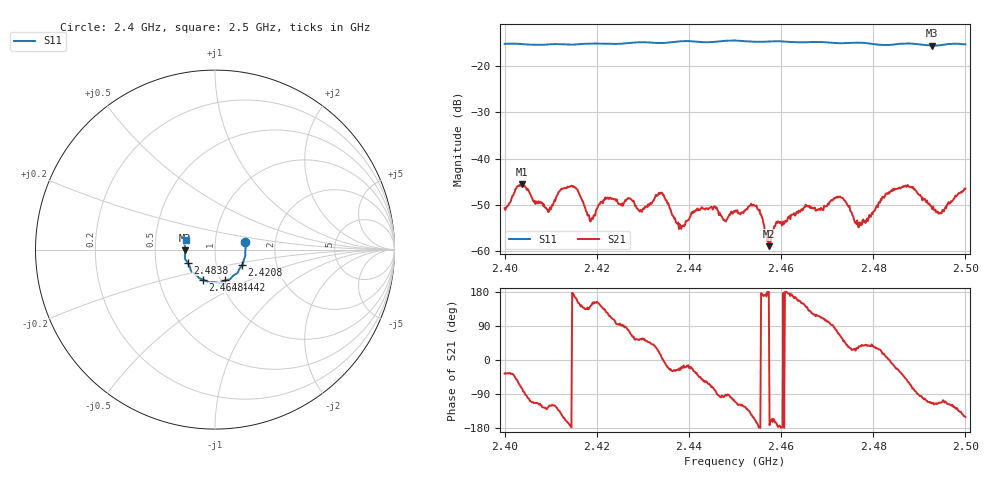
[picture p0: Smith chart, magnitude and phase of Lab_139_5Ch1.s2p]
# Hz S RI R 50
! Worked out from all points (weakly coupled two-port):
!   601 points, 2.4 GHz to 2.5 GHz, reference 50 ohm
!   highest |S21| = -45.52 dB at 2.4037 GHz (marker M1); lowest = -58.9 dB at 2.4573 GHz (marker M2)
!   lowest |S11| = -15.6 dB at 2.4928 GHz (marker M3), VSWR 1.40, Z = 35.8 - j0.369 ohm
!   |S11| at or under -10 dB: start of sweep to end of sweep
!   S12 and S22 are empty: the file has one direction only
!   S11 on the Smith chart (normalised r, x): 2.4 GHz: 1.40, +0.12; 2.4208 GHz: 1.33, -0.24; 2.4442 GHz: 1.05, -0.37; 2.4648 GHz: 0.83, -0.29; 2.4838 GHz: 0.73, -0.11; 2.5 GHz: 0.72, +0.08
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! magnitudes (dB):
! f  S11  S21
! 2.4 GHz  -15.2  -50.7
! 2.4037 GHz  -15.3  -45.5
! 2.4092 GHz  -15.4  -51.0
! 2.4142 GHz  -15.4  -46.0
! 2.4167 GHz  -15.3  -48.6
! 2.4187 GHz  -15.2  -53.6
! 2.4208 GHz  -15.2  -49.3
! 2.4295 GHz  -14.9  -51.1
! 2.4333 GHz  -15.0  -47.7
! 2.4383 GHz  -14.7  -55.2
! 2.4442 GHz  -14.9  -51.0
! 2.45 GHz  -14.5  -51.5
! 2.4545 GHz  -14.8  -50.2
! 2.4573 GHz  -14.7  -58.9
! 2.4648 GHz  -14.9  -50.7
! 2.4667 GHz  -14.8  -50.7
! 2.473 GHz  -15.1  -48.4
! 2.4772 GHz  -15.0  -54.4
! 2.4833 GHz  -15.5  -47.3
! 2.4838 GHz  -15.4  -47.0
! 2.4928 GHz  -15.6  -50.9
! 2.5 GHz  -15.4  -46.5
